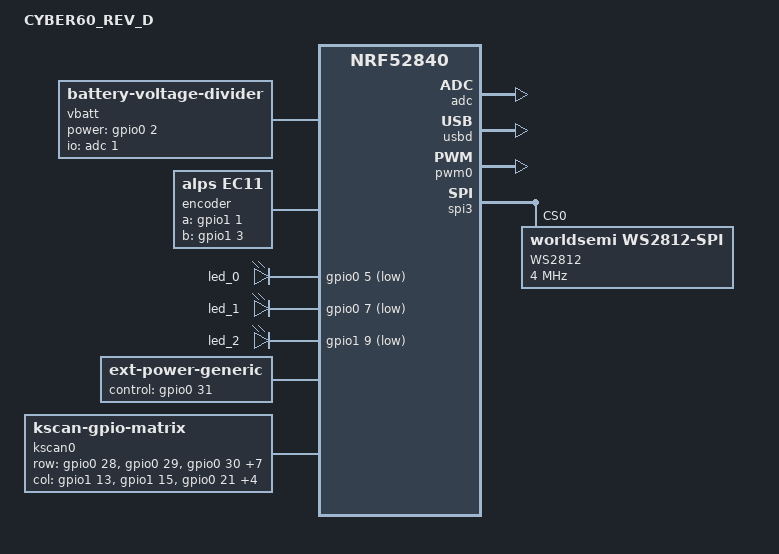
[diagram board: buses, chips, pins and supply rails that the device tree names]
/*
 * Copyright (c) 2020 Stefan Sundin (4pplet)
 *
 * SPDX-License-Identifier: MIT
 */

/dts-v1/;
#include <nordic/nrf52840_qiaa.dtsi>
#include <dt-bindings/led/led.h>
#include "cyber60_rev_d-pinctrl.dtsi"
#include "cyber60_rev_d-layouts.dtsi"
#include "cyber60_rev_d-transforms.dtsi"

/ {
	model = "CYBER60_REV_D";
	compatible = "cyber60", "Rev_D";

	chosen {
		zephyr,code-partition = &code_partition;
		zephyr,sram = &sram0;
		zephyr,flash = &flash0;
		zmk,kscan = &kscan0;
		zmk,physical-layout = &layout_0;
		zmk,underglow = &led_strip;
		zmk,battery = &vbatt;
		zmk,studio-rpc-uart = &cdc_acm_uart;
	};

	vbatt: vbatt {
		compatible = "zmk,battery-voltage-divider";
		io-channels = <&adc 1>; // P0.03
		output-ohms = <2000000>;
		full-ohms = <(1000000 + 2000000)>;
		power-gpios = <&gpio0 2 GPIO_ACTIVE_HIGH>; // P0.02
	};

	sensors {
    	compatible = "zmk,keymap-sensors";
    	sensors = <&encoder>;
	};

	encoder: encoder_1 {
        compatible = "alps,ec11";
        a-gpios = <&gpio1 1 (GPIO_ACTIVE_HIGH | GPIO_PULL_UP)>; // P1.01
        b-gpios = <&gpio1 3 (GPIO_ACTIVE_HIGH | GPIO_PULL_UP)>; // P1.03
        //resolution = <2>;
    };

	// PWM buzzer config
    buzzer: pwm_buzzer {
        compatible = "pwm-buzzer";
		pwms = <&pwm0 0 1000 PWM_POLARITY_NORMAL>;
		//set status = "okay" to enable the buzzer
		status = "disabled";
		//status = "okay";
    };

	leds {
			compatible = "gpio-leds";
			led_0: led_green { // P0.05
				gpios = <&gpio0 5 GPIO_ACTIVE_LOW>;
				status = "okay";
			};
			led_1: led_red { // P0.07
				gpios = <&gpio0 7 GPIO_ACTIVE_LOW>;
				status = "okay";
			};
			led_2: led_blue { // P1.09
				gpios = <&gpio1 9 GPIO_ACTIVE_LOW>;
				status = "okay";
			};
		};

	// These aliases are provided for compatibility with samples
	aliases {
		ledgreen = &led_0;
		ledred   = &led_1;
		ledblue  = &led_2;
		buzzer = &buzzer;
	};

	ext-power {
		compatible = "zmk,ext-power-generic";
		control-gpios = <&gpio0 31 GPIO_ACTIVE_HIGH>; // P0.31
	};

	kscan0: kscan {
		compatible = "zmk,kscan-gpio-matrix";
		wakeup-source;
		diode-direction = "col2row";
		row-gpios
			= <&gpio0 28  (GPIO_ACTIVE_HIGH | GPIO_PULL_DOWN)>
			, <&gpio0 29 (GPIO_ACTIVE_HIGH | GPIO_PULL_DOWN)>
			, <&gpio0 30 (GPIO_ACTIVE_HIGH | GPIO_PULL_DOWN)>
			, <&gpio1 0 (GPIO_ACTIVE_HIGH | GPIO_PULL_DOWN)>
			, <&gpio0 19 (GPIO_ACTIVE_HIGH | GPIO_PULL_DOWN)>
			, <&gpio0 22 (GPIO_ACTIVE_HIGH | GPIO_PULL_DOWN)>
			, <&gpio0 12 (GPIO_ACTIVE_HIGH | GPIO_PULL_DOWN)>
			, <&gpio1 4 (GPIO_ACTIVE_HIGH | GPIO_PULL_DOWN)>
			, <&gpio1 10 (GPIO_ACTIVE_HIGH | GPIO_PULL_DOWN)>
			, <&gpio1 11 (GPIO_ACTIVE_HIGH | GPIO_PULL_DOWN)>
			;
		col-gpios
			= <&gpio1 13  GPIO_ACTIVE_HIGH>
			, <&gpio1 15  GPIO_ACTIVE_HIGH>
			, <&gpio0 21  GPIO_ACTIVE_HIGH>
			, <&gpio0 9 GPIO_ACTIVE_HIGH>
			, <&gpio0 10 GPIO_ACTIVE_HIGH>
			, <&gpio1 6  GPIO_ACTIVE_HIGH>
			, <&gpio1 2 GPIO_ACTIVE_HIGH>
			;
	};



};

&gpio0 {
	status = "okay";
};

&gpio1 {
	status = "okay";
};

&adc {
	status = "okay";
};

zephyr_udc0: &usbd {
    status = "okay";
};

&usbd {
    status = "okay";
    cdc_acm_uart: cdc_acm_uart {
        compatible = "zephyr,cdc-acm-uart";
        label = "CDC_ACM_0";
    };
};

&pwm0 {
	//ch0-pin = <23>; //old imp.
    status = "okay";    
	pinctrl-0 = <&pwm0_default>;
	pinctrl-1 = <&pwm0_sleep>;
    pinctrl-names = "default", "sleep";
};

&spi3 {
	compatible = "nordic,nrf-spim";
	status = "okay";
	pinctrl-0 = <&spi3_default>;
	pinctrl-1 = <&spi3_sleep>;
	pinctrl-names = "default", "sleep";
	led_strip: ws2812@0 {
		compatible = "worldsemi,ws2812-spi";
		label = "WS2812";
		/* SPI */
		reg = <0>; /* ignored, but necessary for SPI bindings */
		spi-max-frequency = <4000000>;
		/* WS2812 */
		chain-length = <16>; /* LED strip length */
		spi-one-frame = <0x70>;
		spi-zero-frame = <0x40>;
		color-mapping = <LED_COLOR_ID_GREEN LED_COLOR_ID_RED LED_COLOR_ID_BLUE>;
	};
};

&flash0 {
	/*
	 * For more information, see:
	 * http://docs.zephyrproject.org/latest/devices/dts/flash_partitions.html
	 */
	partitions {
		compatible = "fixed-partitions";
		#address-cells = <1>;
		#size-cells = <1>;

		sd_partition: partition@0 {
			label = "softdevice";
			reg = <0x00000000 0x00026000>;
		};
		code_partition: partition@26000 {
			label = "code_partition";
			reg = <0x00026000 0x000c6000>;
		};

		/*
		 * The flash starting at 0x000ec000 and ending at
		 * 0x000f3fff is reserved for use by the application.
		 */

		/*
		 * Storage partition will be used by FCB/LittleFS/NVS
		 * if enabled.
		 */
		storage_partition: partition@ec000 {
			label = "storage";
			reg = <0x000ec000 0x00008000>;
		};

		boot_partition: partition@f4000 {
			label = "adafruit_boot";
			reg = <0x000f4000 0x0000c000>;
		};
	};
};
